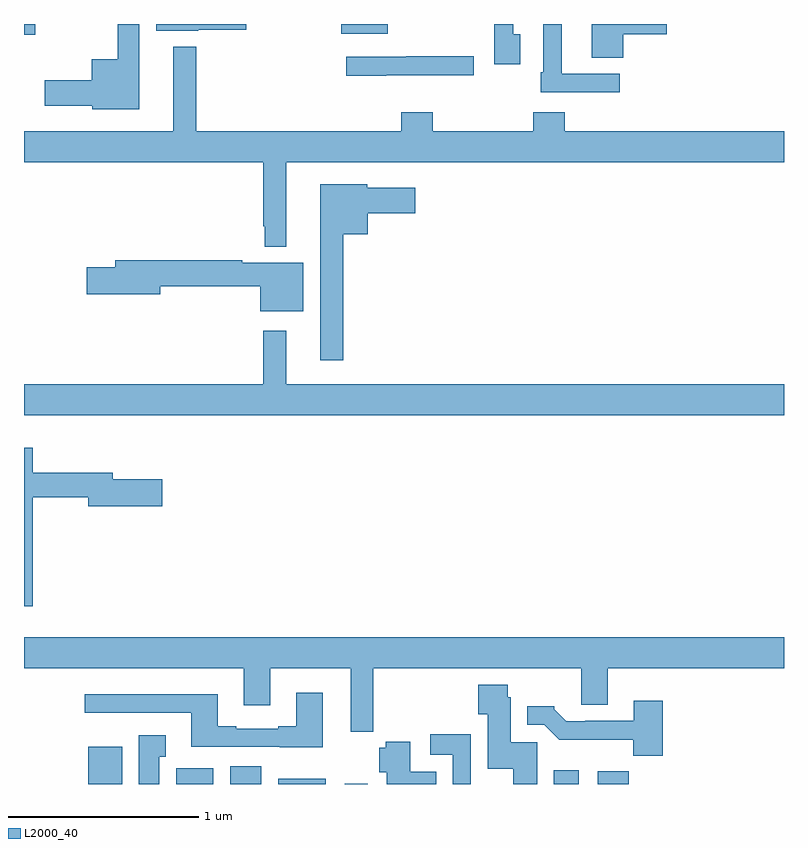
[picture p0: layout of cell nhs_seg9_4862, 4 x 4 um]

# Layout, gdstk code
import gdstk
lib = gdstk.Library(unit=1e-6, precision=1e-09)
def R(c, l, rs):  # rectangles x0, y0, x1, y1
    for r in rs: c.add(gdstk.rectangle(r[:2], r[2:], *l))
def P(c, l, *ps):  # polygons
    for p in ps: c.add(gdstk.Polygon(p, *l))
L2000_40 = (2000, 40)

nhs_seg9_4862 = lib.new_cell('nhs_seg9_4862')
R(nhs_seg9_4862, L2000_40, [(393.338,1174.5,393.517,1174.696), (393.801,1174.5,393.997,1174.584), (394.085,1174.5,394.249,1174.594), (394.337,1174.5,394.588,1174.528), (394.688,1174.5,394.81,1174.501), (395.789,1174.5,395.92,1174.573), (396.02,1174.5,396.182,1174.567), (393,1178.444,393.06,1178.5), (394.67,1178.45,394.915,1178.5)])
P(nhs_seg9_4862, L2000_40, [(393.918,1178.471),(394.171,1178.471),(394.171,1178.5),(393.695,1178.5),(393.695,1178.465),(393.918,1178.465)],
  [(396.136,1178.238),(395.83,1178.238),(395.83,1178.435),(395.829,1178.435),(395.829,1178.5),(395.733,1178.5),(395.733,1178.245),(395.721,1178.245),(395.721,1178.142),(396.136,1178.142)],
  [(393.607,1178.5),(393.493,1178.5),(393.493,1178.314),(393.356,1178.314),(393.356,1178.204),(393.108,1178.204),(393.108,1178.069),(393.36,1178.069),(393.36,1178.051),(393.607,1178.051)],
  [(396.155,1178.447),(396.383,1178.447),(396.383,1178.5),(395.987,1178.5),(395.987,1178.323),(396.155,1178.323)],
  [(395.611,1178.445),(395.574,1178.445),(395.574,1178.5),(395.476,1178.5),(395.476,1178.289),(395.611,1178.289)],
  [(394.381,1177.772),(397,1177.772),(397,1177.936),(395.846,1177.936),(395.846,1178.035),(395.681,1178.035),(395.681,1177.936),(395.15,1177.936),(395.15,1178.035),(394.985,1178.035),(394.985,1177.936),(393.907,1177.936),(393.907,1178.38),(393.785,1178.38),(393.785,1177.936),(393,1177.936),(393,1177.772),(394.26,1177.772),(394.26,1177.435),(394.266,1177.435),(394.266,1177.328),(394.381,1177.328)],
  [(394.907,1178.231),(395.368,1178.231),(395.368,1178.331),(395.011,1178.331),(395.011,1178.328),(394.695,1178.328),(394.695,1178.227),(394.907,1178.227)],
  [(394.681,1177.394),(394.81,1177.394),(394.81,1177.505),(395.059,1177.505),(395.059,1177.639),(394.806,1177.639),(394.806,1177.657),(394.559,1177.657),(394.559,1176.729),(394.681,1176.729)],
  [(394.471,1177.243),(394.148,1177.243),(394.148,1177.256),(393.479,1177.256),(393.479,1177.22),(393.33,1177.22),(393.33,1177.078),(393.718,1177.078),(393.718,1177.12),(394.244,1177.12),(394.244,1176.989),(394.471,1176.989)],
  [(397,1176.604),(394.381,1176.604),(394.381,1176.886),(394.26,1176.886),(394.26,1176.604),(393,1176.604),(393,1176.44),(397,1176.44)],
  [(393.047,1176.01),(393.338,1176.01),(393.338,1175.963),(393.727,1175.963),(393.727,1176.105),(393.466,1176.105),(393.466,1176.139),(393.047,1176.139),(393.047,1176.271),(393,1176.271),(393,1175.436),(393.047,1175.436)],
  [(394.838,1175.108),(395.933,1175.108),(395.933,1174.918),(396.073,1174.918),(396.073,1175.108),(397,1175.108),(397,1175.272),(393,1175.272),(393,1175.108),(394.157,1175.108),(394.157,1174.914),(394.297,1174.914),(394.297,1175.108),(394.721,1175.108),(394.721,1174.776),(394.838,1174.776)],
  [(395.701,1174.719),(395.563,1174.719),(395.563,1174.956),(395.547,1174.956),(395.547,1175.023),(395.39,1175.023),(395.39,1174.867),(395.441,1174.867),(395.441,1174.58),(395.576,1174.58),(395.576,1174.5),(395.701,1174.5)],
  [(394.573,1174.981),(394.433,1174.981),(394.433,1174.804),(394.337,1174.804),(394.337,1174.791),(394.117,1174.791),(394.117,1174.804),(394.021,1174.804),(394.021,1174.972),(393.321,1174.972),(393.321,1174.875),(393.881,1174.875),(393.881,1174.695),(394.345,1174.695),(394.345,1174.694),(394.573,1174.694)],
  [(396.362,1174.939),(396.209,1174.939),(396.209,1174.833),(395.953,1174.833),(395.953,1174.83),(395.854,1174.83),(395.79,1174.894),(395.79,1174.909),(395.648,1174.909),(395.648,1174.812),(395.739,1174.812),(395.818,1174.734),(396.207,1174.734),(396.207,1174.649),(396.362,1174.649)],
  [(395.352,1174.762),(395.139,1174.762),(395.139,1174.653),(395.256,1174.653),(395.256,1174.5),(395.352,1174.5)],
  [(393.712,1174.643),(393.745,1174.643),(393.745,1174.756),(393.605,1174.756),(393.605,1174.5),(393.712,1174.5)],
  [(395.171,1174.564),(395.032,1174.564),(395.032,1174.722),(394.903,1174.722),(394.903,1174.692),(394.871,1174.692),(394.871,1174.562),(394.91,1174.562),(394.91,1174.5),(395.171,1174.5)])

lib.write_gds('nhs_seg9_4862.gds')
